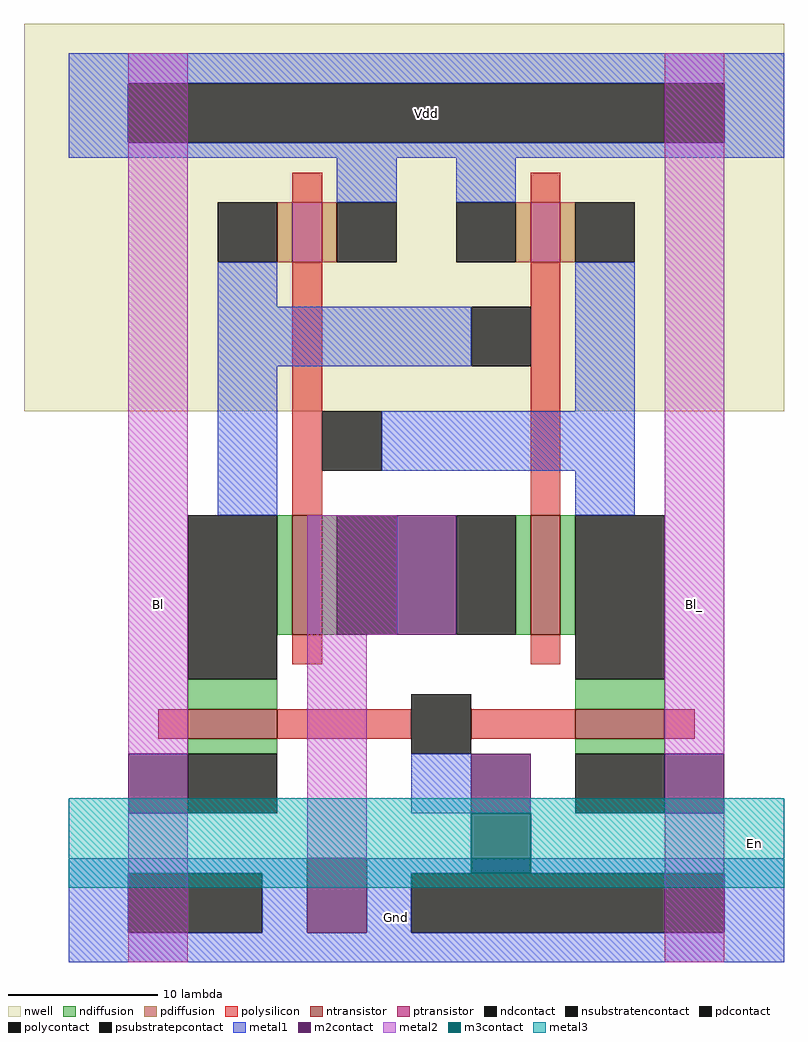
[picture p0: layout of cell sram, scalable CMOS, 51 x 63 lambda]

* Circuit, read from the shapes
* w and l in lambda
.subckt sram Bl Bl_ En Gnd Vdd
M1 n1 En Bl Gnd nfet w=6 l=2
M2 Gnd n2 n1 Gnd nfet w=8 l=2
M3 n2 n1 Gnd Gnd nfet w=8 l=2
M4 n2 En Bl_ Gnd nfet w=6 l=2
M5 Vdd n2 n1 Vdd pfet w=4 l=2
M6 n2 n1 Vdd Vdd pfet w=4 l=2
.ends

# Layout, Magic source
magic
tech scmos
<< nwell >>
rect -13 -10 38 16
<< ntransistor >>
rect 5 -25 7 -17
rect 21 -25 23 -17
rect -2 -32 4 -30
rect 24 -32 30 -30
<< ptransistor >>
rect 5 0 7 4
rect 21 0 23 4
<< ndiffusion >>
rect 4 -25 5 -17
rect 7 -25 8 -17
rect 20 -25 21 -17
rect 23 -25 24 -17
rect -2 -30 4 -28
rect -2 -33 4 -32
rect 24 -30 30 -28
rect 24 -33 30 -32
<< pdiffusion >>
rect 4 0 5 4
rect 7 0 8 4
rect 20 0 21 4
rect 23 0 24 4
<< ndcontact >>
rect -2 -28 4 -17
rect 8 -25 12 -17
rect 16 -25 20 -17
rect 24 -28 30 -17
rect -2 -37 4 -33
rect 24 -37 30 -33
<< pdcontact >>
rect 0 0 4 4
rect 8 0 12 4
rect 16 0 20 4
rect 24 0 28 4
<< psubstratepcontact >>
rect -6 -45 3 -41
rect 13 -45 34 -41
<< nsubstratencontact >>
rect -6 8 34 12
<< polysilicon >>
rect 5 4 7 6
rect 21 4 23 6
rect 5 -17 7 0
rect 21 -17 23 0
rect 5 -27 7 -25
rect 21 -27 23 -25
rect -4 -32 -2 -30
rect 4 -32 13 -30
rect 17 -32 24 -30
rect 30 -32 32 -30
<< polycontact >>
rect 17 -7 21 -3
rect 7 -14 11 -10
rect 13 -33 17 -29
<< metal1 >>
rect -10 12 38 14
rect -10 8 -6 12
rect 34 8 38 12
rect -10 7 38 8
rect 8 4 12 7
rect 16 4 20 7
rect 0 -3 4 0
rect 0 -7 17 -3
rect 0 -17 4 -7
rect 24 -10 28 0
rect 11 -14 28 -10
rect 24 -17 28 -14
rect 13 -37 17 -33
rect -10 -41 6 -40
rect -10 -45 -6 -41
rect 3 -45 6 -41
rect 10 -41 38 -40
rect 10 -45 13 -41
rect 34 -45 38 -41
rect -10 -47 38 -45
<< m2contact >>
rect 12 -25 16 -17
rect -6 -37 -2 -33
rect 17 -37 21 -33
rect 30 -37 34 -33
rect 6 -45 10 -40
<< metal2 >>
rect -6 -33 -2 14
rect -6 -47 -2 -37
rect 6 -25 12 -17
rect 6 -40 10 -25
rect 30 -33 34 14
rect 30 -47 34 -37
<< m3contact >>
rect 17 -41 21 -37
<< metal3 >>
rect -10 -37 38 -36
rect -10 -41 17 -37
rect 21 -41 38 -37
rect -10 -42 38 -41
<< labels >>
rlabel nsubstratencontact 14 10 14 10 1 Vdd
rlabel metal1 12 -44 12 -44 1 Gnd
rlabel metal3 36 -39 36 -39 1 En
rlabel metal2 -4 -23 -4 -23 1 Bl
rlabel metal2 32 -23 32 -23 1 Bl_
<< end >>
